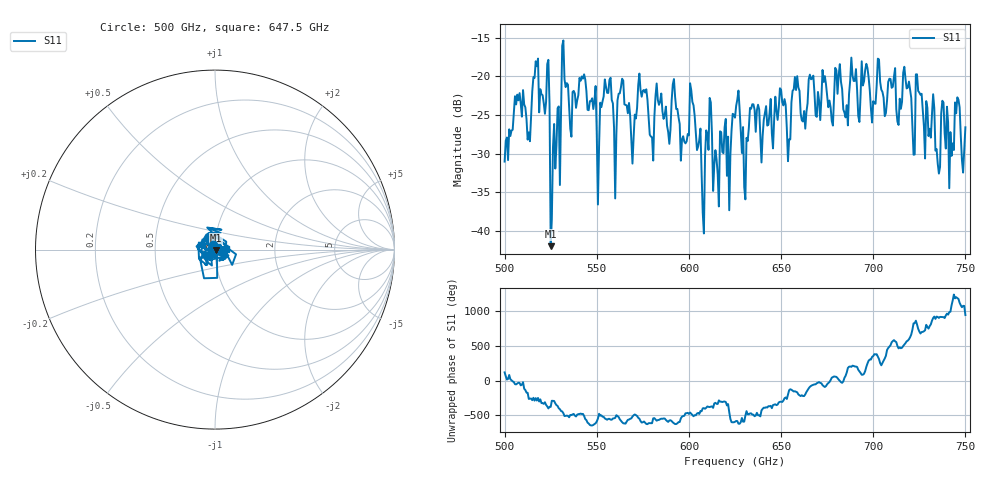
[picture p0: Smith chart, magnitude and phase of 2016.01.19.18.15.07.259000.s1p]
!Created with skrf (http://scikit-rf.org).
# GHz S RI R 50.0
!freq ReS11 ImS11
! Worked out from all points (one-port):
!   401 points, 500 GHz to 750 GHz, reference 50 ohm
!   lowest |S11| = -42.0 dB at 525 GHz (marker M1), VSWR 1.02, Z = 50.8 - j0.278 ohm
!   |S11| at or under -10 dB: start of sweep to end of sweep
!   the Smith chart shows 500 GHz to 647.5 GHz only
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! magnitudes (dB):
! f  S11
! 500 GHz  -31.0
! 506.9 GHz  -22.4
! 513.1 GHz  -27.2
! 516.9 GHz  -18.0
! 523.1 GHz  -18.4
! 525 GHz  -42.0
! 526.2 GHz  -29.1
! 531.2 GHz  -16.0
! 542.5 GHz  -20.3
! 551.2 GHz  -29.1
! 562.5 GHz  -22.2
! 570 GHz  -27.9
! 573.8 GHz  -21.8
! 579.4 GHz  -27.8
! 593.8 GHz  -24.2
! 601.9 GHz  -23.3
! 608.1 GHz  -40.3
! 610.6 GHz  -29.5
! 615 GHz  -30.7
! 625 GHz  -25.3
! 630 GHz  -34.3
! 634.4 GHz  -23.6
! 656.2 GHz  -21.9
! 687.5 GHz  -20.5
! 718.8 GHz  -21.4
! 735 GHz  -31.3
! 745.6 GHz  -22.7
! 750 GHz  -26.6
